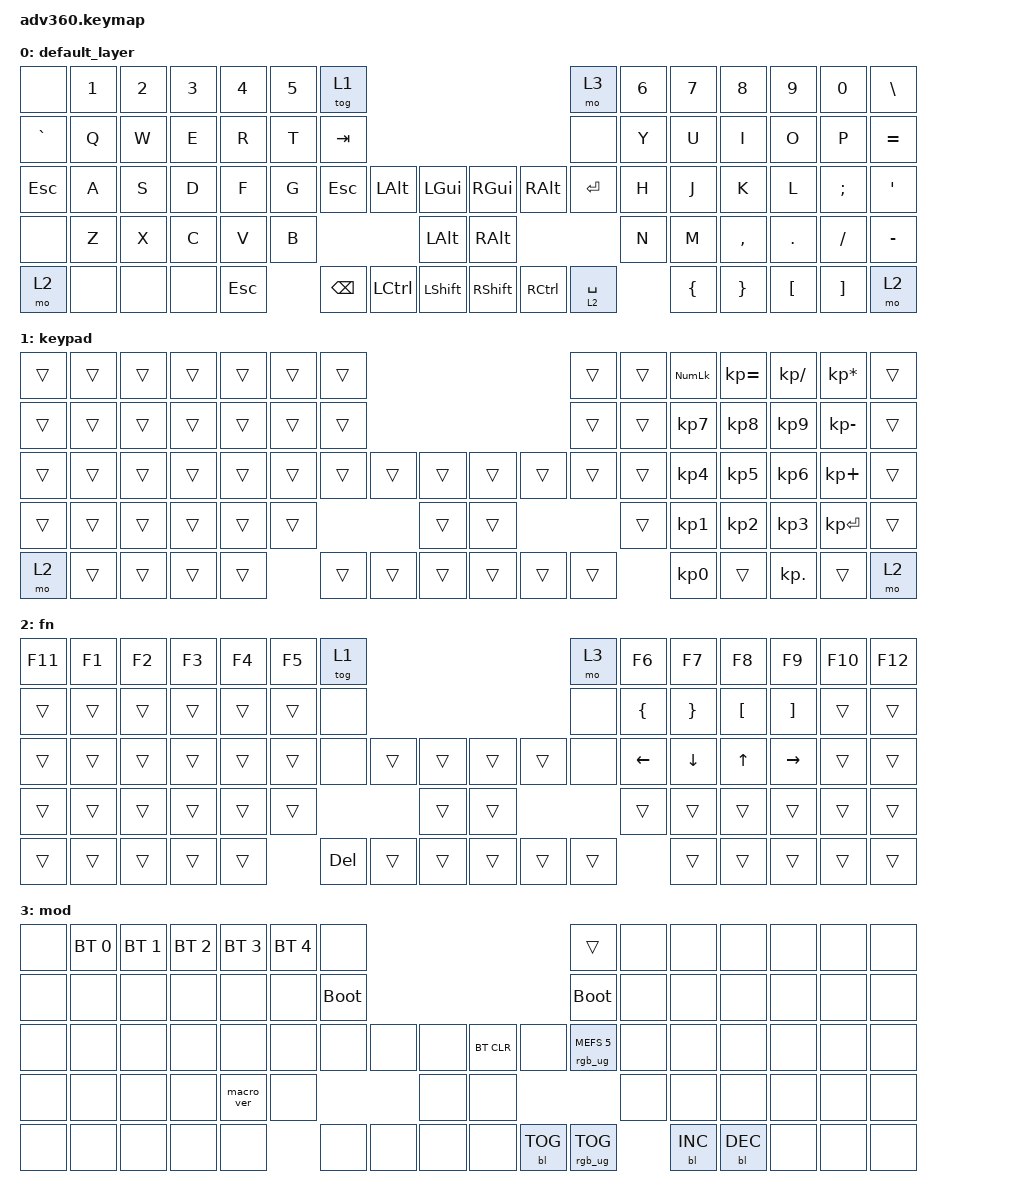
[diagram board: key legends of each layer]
#include <behaviors.dtsi>
#include <dt-bindings/zmk/backlight.h>
#include <dt-bindings/zmk/bt.h>
#include <dt-bindings/zmk/keys.h>
#include <dt-bindings/zmk/rgb.h>

/ {
    behaviors {
        #include "macros.dtsi"
      #include "version.dtsi"
      #ifndef VERSION_MACRO

        macro_ver: macro_ver {
            compatible = "zmk,behavior-macro";
            label = "macro_version";
            #binding-cells = <0>;
            bindings = <&kp RET>;
        };

        #endif

        hm: homerow_mods {
            compatible = "zmk,behavior-hold-tap";
            label = "HOMEROW_MODS";
            #binding-cells = <2>;
            tapping-term-ms = <200>;
            quick_tap_ms = <175>;
            flavor = "tap-preferred";
            bindings = <&kp>, <&kp>;
        };
    };

    macros {
    };

    keymap {
        compatible = "zmk,keymap";

        default_layer {
            bindings = <
&none       &kp N1  &kp N2  &kp N3  &kp N4      &kp N5  &tog 1                                                                    &mo 3        &kp N6  &kp N7          &kp N8           &kp N9    &kp N0    &kp BACKSLASH
&kp GRAVE   &kp Q   &kp W   &kp E   &kp R       &kp T   &kp TAB                                                                   &none        &kp Y   &kp U           &kp I            &kp O     &kp P     &kp EQUAL
&kp ESCAPE  &kp A   &kp S   &kp D   &kp F       &kp G   &kp ESCAPE     &kp LEFT_ALT  &kp LEFT_GUI      &kp RGUI    &kp RIGHT_ALT  &kp ENTER    &kp H   &kp J           &kp K            &kp L     &kp SEMI  &kp SQT
&none       &kp Z   &kp X   &kp C   &kp V       &kp B                                &kp LEFT_ALT      &kp RALT                                &kp N   &kp M           &kp COMMA        &kp DOT   &kp FSLH  &kp MINUS
&mo 2       &none   &none   &none   &kp ESCAPE          &kp BACKSPACE  &kp LCTRL     &kp LSHIFT        &kp RSHIFT  &kp RCTRL      &lt 2 SPACE          &kp LEFT_BRACE  &kp RIGHT_BRACE  &kp LBKT  &kp RBKT  &mo 2
            >;
        };

        keypad {
            bindings = <
&trans  &trans  &trans  &trans  &trans  &trans  &trans                                      &trans  &trans  &kp KP_NUM       &kp KP_EQUAL  &kp KP_DIVIDE  &kp KP_MULTIPLY  &trans
&trans  &trans  &trans  &trans  &trans  &trans  &trans                                      &trans  &trans  &kp KP_N7        &kp KP_N8     &kp KP_N9      &kp KP_MINUS     &trans
&trans  &trans  &trans  &trans  &trans  &trans  &trans  &trans  &trans      &trans  &trans  &trans  &trans  &kp KP_N4        &kp KP_N5     &kp KP_N6      &kp KP_PLUS      &trans
&trans  &trans  &trans  &trans  &trans  &trans                  &trans      &trans                  &trans  &kp KP_N1        &kp KP_N2     &kp KP_N3      &kp KP_ENTER     &trans
&mo 2   &trans  &trans  &trans  &trans          &trans  &trans  &trans      &trans  &trans  &trans          &kp KP_NUMBER_0  &trans        &kp KP_DOT     &trans           &mo 2
            >;
        };

        fn {
            bindings = <
&kp F11  &kp F1  &kp F2  &kp F3  &kp F4  &kp F5  &tog 1                                          &mo 3   &kp F6          &kp F7           &kp F8            &kp F9             &kp F10  &kp F12
&trans   &trans  &trans  &trans  &trans  &trans  &none                                           &none   &kp LEFT_BRACE  &kp RIGHT_BRACE  &kp LEFT_BRACKET  &kp RIGHT_BRACKET  &trans   &trans
&trans   &trans  &trans  &trans  &trans  &trans  &none       &trans  &trans      &trans  &trans  &none   &kp LEFT_ARROW  &kp DOWN         &kp UP_ARROW      &kp RIGHT          &trans   &trans
&trans   &trans  &trans  &trans  &trans  &trans                      &trans      &trans                  &trans          &trans           &trans            &trans             &trans   &trans
&trans   &trans  &trans  &trans  &trans          &kp DELETE  &trans  &trans      &trans  &trans  &trans                  &trans           &trans            &trans             &trans   &trans
            >;
        };

        mod {
            bindings = <
&none  &bt BT_SEL 0  &bt BT_SEL 1  &bt BT_SEL 2  &bt BT_SEL 3  &bt BT_SEL 4  &none                                                  &trans                  &none  &none       &none       &none  &none  &none
&none  &none         &none         &none         &none         &none         &bootloader                                            &bootloader             &none  &none       &none       &none  &none  &none
&none  &none         &none         &none         &none         &none         &none        &none  &none      &bt BT_CLR  &none       &rgb_ug RGB_MEFS_CMD 5  &none  &none       &none       &none  &none  &none
&none  &none         &none         &none         &macro_ver    &none                             &none      &none                                           &none  &none       &none       &none  &none  &none
&none  &none         &none         &none         &none                       &none        &none  &none      &none       &bl BL_TOG  &rgb_ug RGB_TOG                &bl BL_INC  &bl BL_DEC  &none  &none  &none
            >;
        };
    };
};
